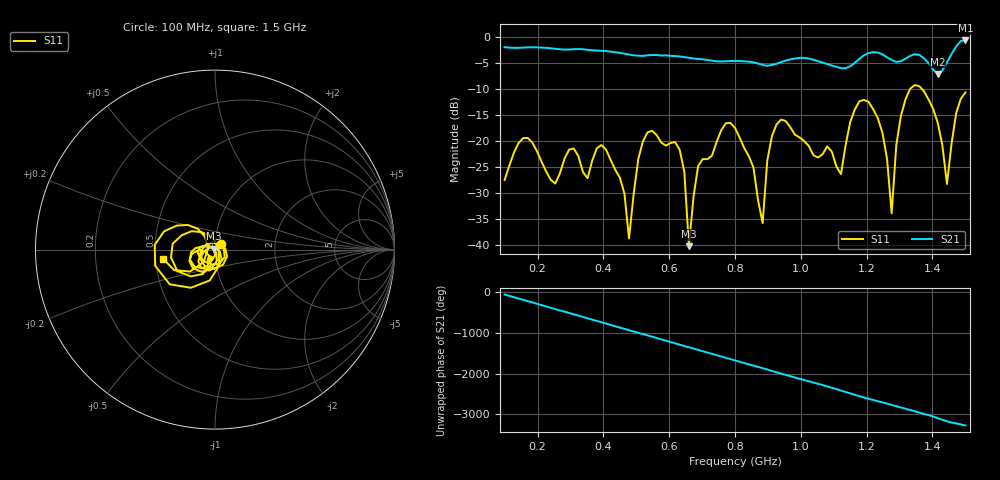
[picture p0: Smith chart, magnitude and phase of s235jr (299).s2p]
! NanoVNA-App
! Date: 2025-09-25 15:06:29
! Start: 100MHz Stop: 1,5GHz Points: 101
! S-Parameter data: F S11 S21 S12 S22
# Hz S RI R 50
!  Frequency  S11_Real  S11_Imag  S21_Real  S21_Imag  S12_Real  S12_Imag  S22_Real  S22_Imag
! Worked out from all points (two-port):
!   101 points, 100 MHz to 1.5 GHz, reference 50 ohm
!   highest |S21| = -0.67 dB at 1.5 GHz (marker M1); lowest = -7.1 dB at 1.416 GHz (marker M2)
!   |S21| within 3 dB of the highest: start of sweep to 618.7 MHz; 1.189 GHz to 1.256 GHz (67.59 MHz wide, 5.53 % of centre) (the widest 2 of 4)
!   lowest |S11| = -40.2 dB at 660 MHz (marker M3), VSWR 1.02, Z = 49.2 + j0.535 ohm
!   |S11| at or under -10 dB: start of sweep to 1.332 GHz; 1.368 GHz to end of sweep
!   S12 and S22 are empty: the file has one direction only
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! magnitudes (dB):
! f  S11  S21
! 100 MHz  -27.5  -2.0
! 156 MHz  -19.4  -2.0
! 338 MHz  -25.9  -2.4
! 408 MHz  -21.6  -2.7
! 478 MHz  -38.7  -3.4
! 520 MHz  -20.1  -3.6
! 576 MHz  -20.3  -3.6
! 632 MHz  -21.7  -3.7
! 660 MHz  -40.2  -4.0
! 688 MHz  -24.8  -4.2
! 800 MHz  -17.5  -4.6
! 884 MHz  -35.7  -5.4
! 926 MHz  -16.8  -5.1
! 1.038 GHz  -22.7  -4.4
! 1.122 GHz  -26.3  -6.0
! 1.206 GHz  -12.5  -3.1
! 1.276 GHz  -33.8  -4.4
! 1.29 GHz  -20.8  -4.8
! 1.332 GHz  -10.0  -3.6
! 1.416 GHz  -16.5  -7.1
! 1.444 GHz  -28.2  -4.9
! 1.5 GHz  -10.6  -0.7
